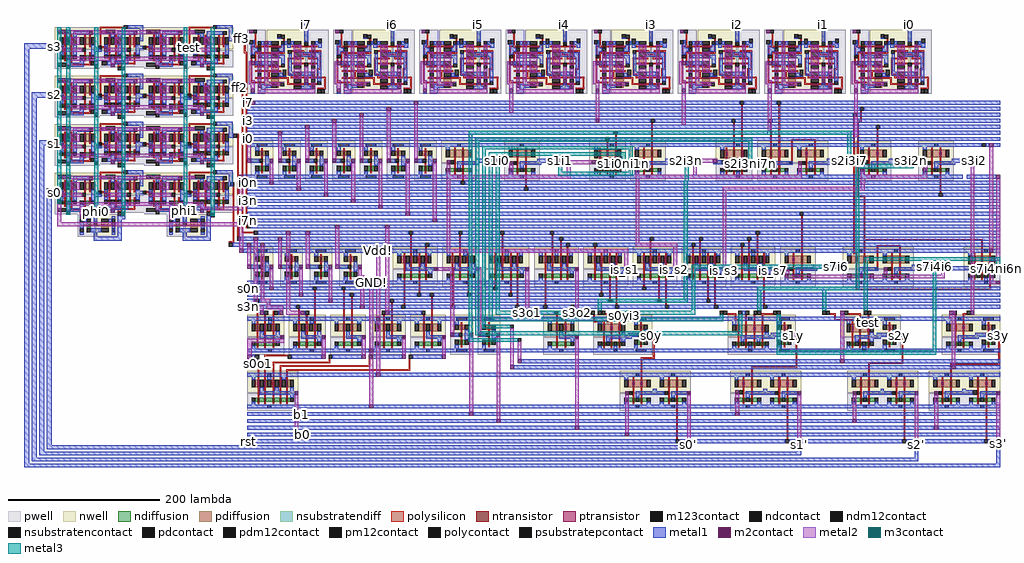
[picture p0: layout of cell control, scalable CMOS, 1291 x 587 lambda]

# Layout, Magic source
magic
tech scmos
<< polysilicon >>
rect -280 416 -274 418
rect -276 415 -274 416
rect -26 410 -24 429
rect -26 408 -22 410
rect -280 352 -274 354
rect -276 351 -274 352
rect -280 288 -274 290
rect -276 287 -274 288
rect -276 225 -274 226
rect -280 223 -274 225
rect -41 159 -39 232
rect -35 165 -33 301
rect -29 172 -27 365
rect -24 176 -22 408
rect 454 281 456 292
rect 465 281 467 300
rect 513 281 515 316
rect 621 281 623 316
rect 632 281 634 340
rect 670 281 672 316
rect 681 281 683 340
rect 698 292 730 294
rect 698 265 700 292
rect 728 281 730 292
rect 263 239 265 250
rect 346 231 348 250
rect -29 170 -13 172
rect -46 157 -39 159
rect 194 140 196 168
rect 214 140 216 152
rect 259 141 261 168
rect 315 141 317 168
rect 381 141 383 168
rect 392 141 394 160
rect 401 141 403 152
rect 437 141 439 152
rect 511 141 513 160
rect 567 141 569 152
rect 576 141 578 160
rect 632 141 634 152
rect 641 141 643 160
rect 652 141 654 168
rect 711 140 713 193
rect 780 145 782 324
rect 789 319 791 332
rect 785 317 791 319
rect 785 219 787 317
rect 811 280 813 308
rect 894 223 896 250
rect 785 217 796 219
rect 794 162 796 217
rect 794 160 951 162
rect 780 142 785 145
rect 783 141 785 142
rect 794 141 796 160
rect 811 152 843 154
rect 811 125 813 152
rect 841 141 843 152
rect 949 141 951 160
rect 939 119 941 127
rect -9 51 -7 78
rect 1 51 3 62
rect 12 51 14 67
rect 46 51 48 70
rect 56 51 58 62
rect 67 51 69 94
rect 105 50 107 94
rect 116 50 118 86
rect 158 50 160 62
rect 169 50 171 78
rect 185 75 187 110
rect 205 91 207 110
rect 211 50 213 62
rect 222 50 224 86
rect 249 75 251 110
rect 270 91 272 110
rect 306 99 308 110
rect 326 91 328 110
rect 335 75 337 110
rect 372 75 374 110
rect 446 91 448 110
rect 457 83 459 110
rect 466 75 468 110
rect 502 99 504 110
rect 522 83 524 109
rect 531 75 533 110
rect 587 83 589 110
rect 596 75 598 110
rect 661 75 663 110
rect 783 96 785 110
rect 960 96 962 110
rect 783 94 962 96
rect 452 62 456 64
rect 613 62 625 64
rect 387 50 389 62
rect 398 50 400 62
rect 436 54 438 62
rect 454 54 456 62
rect 470 60 479 62
rect 436 52 451 54
rect 454 52 461 54
rect 449 51 451 52
rect 459 51 461 52
rect 470 51 472 60
rect 623 56 625 62
rect 659 62 674 64
rect 749 62 757 64
rect 773 62 790 64
rect 623 54 629 56
rect 627 50 629 54
rect 637 50 639 62
rect 648 50 650 62
rect 659 50 661 62
rect 755 56 757 62
rect 755 54 780 56
rect 778 51 780 54
rect 788 51 790 62
rect 925 62 930 64
rect 799 51 801 62
rect 914 51 916 62
rect 925 51 927 62
rect -8 -24 -6 3
rect 1 7 32 9
rect 1 -24 3 7
rect 515 6 517 33
rect 499 4 517 6
rect 86 0 88 4
rect 12 -2 88 0
rect 12 -24 14 -2
rect 139 -5 141 4
rect 21 -7 141 -5
rect 21 -24 23 -7
rect 192 -10 194 4
rect 30 -12 194 -10
rect 30 -24 32 -12
rect 499 -23 501 4
rect 704 -6 706 33
rect 844 -1 846 33
rect 645 -8 706 -6
rect 800 -3 846 -1
rect 972 -3 974 33
rect 645 -23 647 -8
rect 800 -23 802 -3
rect 908 -5 974 -3
rect 908 -23 910 -5
rect 546 -103 548 -54
rect 692 -103 694 -54
rect 847 -103 849 -54
rect 955 -103 957 -54
<< polycontact >>
rect -31 424 -26 429
rect -287 414 -280 421
rect -34 360 -29 365
rect -287 349 -280 356
rect -40 296 -35 301
rect -287 286 -280 293
rect -44 232 -39 237
rect -287 222 -280 229
rect 630 340 635 345
rect 679 340 684 345
rect 512 316 517 321
rect 619 316 624 321
rect 463 300 468 305
rect 452 292 457 297
rect 668 316 673 321
rect 789 332 794 337
rect 780 324 785 329
rect 247 261 252 266
rect 330 260 335 265
rect 439 261 444 266
rect 497 260 502 265
rect 606 261 611 266
rect 695 260 700 265
rect 712 260 717 265
rect 261 234 266 239
rect 345 226 350 231
rect 709 193 714 198
rect -22 176 -17 181
rect -13 168 -8 173
rect 192 168 197 173
rect 258 168 263 173
rect 313 168 318 173
rect 379 168 384 173
rect 651 168 656 173
rect -35 160 -30 165
rect -46 152 -41 157
rect 214 152 219 157
rect 391 160 396 165
rect 511 160 516 165
rect 576 160 581 165
rect 640 160 645 165
rect 400 152 405 157
rect 436 152 441 157
rect 566 152 571 157
rect 631 152 636 157
rect 810 308 815 313
rect 795 261 800 266
rect 878 260 883 265
rect 893 218 898 223
rect 695 120 700 125
rect 808 120 813 125
rect 825 120 830 125
rect 934 121 939 126
rect 65 94 70 99
rect 103 94 108 99
rect -11 78 -6 83
rect 43 70 48 75
rect 1 62 6 67
rect 14 62 19 67
rect 55 62 60 67
rect 114 86 119 91
rect 167 78 172 83
rect 156 62 161 67
rect 203 86 208 91
rect 220 86 225 91
rect 182 70 187 75
rect 209 62 214 67
rect 304 94 309 99
rect 269 86 274 91
rect 324 86 329 91
rect 444 86 449 91
rect 456 78 461 83
rect 501 94 506 99
rect 521 78 526 83
rect 586 78 591 83
rect 248 70 253 75
rect 333 70 338 75
rect 370 70 375 75
rect 406 70 411 75
rect 465 70 470 75
rect 531 70 536 75
rect 596 70 601 75
rect 661 70 666 75
rect 385 62 390 67
rect 397 62 402 67
rect 433 62 438 67
rect 447 62 452 67
rect 474 62 479 67
rect 608 62 613 67
rect 637 62 642 67
rect 648 62 653 67
rect 674 62 679 67
rect 744 62 749 67
rect 768 62 773 67
rect 799 62 804 67
rect 912 62 917 67
rect 930 62 935 67
rect 515 33 520 38
rect 704 33 709 38
rect 844 33 849 38
rect 969 33 974 38
rect -12 3 -6 9
rect 32 4 37 9
rect 86 4 91 9
rect 139 4 144 9
rect 192 4 197 9
rect 483 -44 488 -39
rect 530 -44 535 -39
rect 629 -43 634 -38
rect 676 -44 681 -39
rect 784 -44 789 -39
rect 831 -44 836 -39
rect 892 -44 897 -39
rect 938 -44 944 -38
rect 545 -108 550 -103
rect 690 -108 695 -103
rect 845 -108 850 -103
rect 953 -108 958 -103
<< metal1 >>
rect 54 438 59 447
rect 168 437 173 447
rect 282 437 287 447
rect 396 437 401 447
rect 510 437 515 447
rect 624 437 629 447
rect 738 437 743 447
rect 852 437 857 447
rect -46 424 -31 429
rect -317 414 -287 421
rect -317 -135 -310 414
rect -46 360 -34 365
rect -307 349 -287 356
rect -307 -127 -300 349
rect -22 340 -17 345
rect -12 340 199 345
rect 204 340 630 345
rect 635 340 679 345
rect 684 340 974 345
rect -22 332 163 337
rect 168 332 789 337
rect 794 332 974 337
rect -22 324 127 329
rect 132 324 780 329
rect 785 324 974 329
rect -22 316 91 321
rect 96 316 512 321
rect 517 316 619 321
rect 624 316 668 321
rect 673 316 974 321
rect -22 308 55 313
rect 60 308 810 313
rect 815 308 974 313
rect -46 296 -40 301
rect -22 300 19 305
rect 24 300 463 305
rect 468 300 667 305
rect 672 300 974 305
rect -297 286 -287 293
rect -17 292 452 297
rect 457 292 781 297
rect 786 292 974 297
rect -297 -119 -290 286
rect -22 284 950 289
rect 955 284 960 289
rect 965 284 974 289
rect 280 265 307 268
rect 277 263 307 265
rect 362 265 390 268
rect 277 260 285 263
rect 360 263 390 265
rect 360 260 367 263
rect 531 265 557 268
rect 527 263 557 265
rect 600 263 606 266
rect 527 260 535 263
rect 595 261 606 263
rect 745 265 772 268
rect 743 263 772 265
rect 743 260 750 263
rect 827 263 855 268
rect 827 260 832 263
rect 910 263 938 268
rect 910 260 915 263
rect -27 242 925 247
rect 930 242 969 247
rect -47 232 -44 237
rect -22 234 8 239
rect 13 234 261 239
rect 266 234 974 239
rect -22 226 44 231
rect 49 226 345 231
rect 350 226 974 231
rect -287 -111 -280 222
rect -22 218 80 223
rect 85 218 893 223
rect 898 218 974 223
rect -22 210 116 215
rect 121 210 974 215
rect -22 202 152 207
rect 157 202 974 207
rect -188 188 -183 193
rect -22 193 188 198
rect 193 193 709 198
rect 714 193 974 198
rect -22 184 224 189
rect 229 184 974 189
rect -17 176 95 181
rect 100 176 161 181
rect 166 176 974 181
rect -8 168 30 173
rect 35 168 56 173
rect 61 168 192 173
rect 197 168 258 173
rect 263 168 313 173
rect 318 168 379 173
rect 384 168 651 173
rect 656 168 974 173
rect -30 160 -13 165
rect -8 160 19 165
rect 24 160 391 165
rect 396 160 511 165
rect 516 160 576 165
rect 581 160 640 165
rect 645 160 974 165
rect -41 152 -22 157
rect -17 152 -4 157
rect 1 152 214 157
rect 219 152 400 157
rect 405 152 436 157
rect 441 152 566 157
rect 571 152 631 157
rect 636 152 974 157
rect -27 144 149 149
rect 154 144 960 149
rect 965 144 974 149
rect -17 123 -9 128
rect 24 123 30 128
rect 61 123 69 128
rect 100 123 108 128
rect 727 123 755 128
rect 727 120 732 123
rect 857 123 885 128
rect 857 120 862 123
rect 901 121 934 126
rect -22 102 140 107
rect 145 102 969 107
rect -22 94 8 99
rect 13 94 65 99
rect 70 94 103 99
rect 108 94 304 99
rect 309 94 501 99
rect 506 94 974 99
rect -22 86 47 91
rect 52 86 114 91
rect 119 86 203 91
rect 208 86 220 91
rect 225 86 269 91
rect 274 86 324 91
rect 329 86 444 91
rect 449 86 974 91
rect -22 78 -11 83
rect -6 78 86 83
rect 91 78 167 83
rect 172 78 456 83
rect 461 78 521 83
rect 526 78 586 83
rect 591 78 974 83
rect -22 70 43 75
rect 48 70 128 75
rect 133 70 182 75
rect 187 70 248 75
rect 253 70 333 75
rect 338 70 370 75
rect 375 70 406 75
rect 411 70 465 75
rect 470 70 531 75
rect 536 70 596 75
rect 601 70 661 75
rect 666 70 974 75
rect 0 62 1 67
rect 19 62 21 67
rect 54 62 55 67
rect 166 62 209 67
rect 351 62 385 67
rect 402 62 412 67
rect 470 62 474 67
rect 633 62 637 67
rect -22 54 149 59
rect 154 54 974 59
rect 482 30 487 38
rect 671 30 676 38
rect 811 30 816 38
rect 843 33 844 38
rect 941 30 946 38
rect -22 12 140 17
rect 145 12 974 17
rect -16 3 -12 9
rect 37 4 77 9
rect 91 4 130 9
rect 144 4 183 9
rect 197 4 236 9
rect 341 -2 763 3
rect 768 -2 974 3
rect 331 -10 910 -5
rect 915 -10 974 -5
rect -22 -20 149 -15
rect 154 -20 974 -15
rect 515 -39 520 -36
rect 515 -44 530 -39
rect 661 -39 666 -36
rect 816 -39 820 -36
rect 924 -38 929 -36
rect 661 -44 676 -39
rect 816 -44 831 -39
rect 924 -44 938 -38
rect -22 -62 140 -57
rect 145 -62 974 -57
rect -22 -72 272 -67
rect 277 -72 624 -67
rect 629 -72 974 -67
rect -22 -81 308 -76
rect 313 -81 779 -76
rect 784 -81 974 -76
rect -22 -90 412 -85
rect 417 -90 887 -85
rect 892 -90 974 -85
rect -22 -99 41 -94
rect 46 -99 478 -94
rect 483 -99 974 -94
rect -22 -108 545 -103
rect 550 -108 690 -103
rect 695 -108 845 -103
rect 850 -108 953 -103
rect 958 -108 974 -103
rect -287 -116 560 -111
rect 706 -119 711 -116
rect -297 -124 711 -119
rect 861 -127 866 -116
rect -307 -132 866 -127
rect 969 -135 974 -116
rect -317 -140 974 -135
<< m2contact >>
rect -214 433 -209 438
rect -96 433 -91 438
rect -202 389 -197 394
rect -84 389 -79 394
rect -214 369 -209 374
rect -96 369 -91 374
rect -17 340 -12 345
rect 199 340 204 345
rect 163 332 168 337
rect -202 325 -197 330
rect -84 325 -79 330
rect 127 324 132 329
rect 91 316 96 321
rect 439 316 444 321
rect -214 305 -209 310
rect -96 305 -91 310
rect 55 308 60 313
rect 19 300 24 305
rect -22 292 -17 297
rect 960 284 965 289
rect -202 261 -197 266
rect -84 261 -79 266
rect -22 263 -17 268
rect 8 263 13 268
rect 19 263 24 268
rect 44 263 49 268
rect 55 263 60 268
rect 80 263 85 268
rect 91 263 96 268
rect 116 263 121 268
rect 127 263 132 268
rect 152 263 157 268
rect 163 263 168 268
rect 188 263 193 268
rect 199 263 204 268
rect 224 263 229 268
rect 242 261 247 266
rect 325 260 330 265
rect 434 261 439 266
rect 492 260 497 265
rect 568 263 573 268
rect 595 263 600 268
rect 707 260 712 265
rect 790 261 795 266
rect 873 260 878 265
rect 938 263 943 268
rect -214 241 -209 246
rect -96 241 -91 246
rect -32 242 -27 247
rect 969 242 974 247
rect 8 234 13 239
rect 44 226 49 231
rect 80 218 85 223
rect 116 210 121 215
rect 152 202 157 207
rect -202 197 -197 202
rect -84 197 -79 202
rect 188 193 193 198
rect 224 184 229 189
rect 95 176 100 181
rect 161 176 166 181
rect 30 168 35 173
rect 56 168 61 173
rect -13 160 -8 165
rect 19 160 24 165
rect -22 152 -17 157
rect -4 152 1 157
rect -32 144 -27 149
rect 149 144 154 149
rect 960 144 965 149
rect -22 123 -17 128
rect 8 123 13 128
rect 19 123 24 128
rect 47 123 52 128
rect 56 123 61 128
rect 86 123 91 128
rect 95 123 100 128
rect 125 123 130 128
rect 225 120 230 125
rect 280 120 285 125
rect 346 120 351 125
rect 412 120 417 125
rect 477 120 482 125
rect 542 120 547 125
rect 607 120 612 125
rect 672 120 677 125
rect 690 120 695 125
rect 820 120 825 125
rect 896 121 901 126
rect 140 102 145 107
rect 969 102 974 107
rect 8 94 13 99
rect 47 86 52 91
rect 86 78 91 83
rect 128 70 133 75
rect -5 62 0 67
rect 21 62 26 67
rect 49 62 54 67
rect 161 62 166 67
rect 346 62 351 67
rect 412 62 417 67
rect 763 62 768 67
rect 907 62 912 67
rect 935 62 940 67
rect 149 54 154 59
rect 22 30 27 35
rect 77 30 82 35
rect 130 30 135 35
rect 183 30 188 35
rect 236 30 241 35
rect 247 33 252 38
rect 272 33 277 38
rect 283 33 288 38
rect 308 33 313 38
rect 412 30 417 35
rect 510 33 515 38
rect 699 33 704 38
rect 838 33 843 38
rect 140 12 145 17
rect -22 3 -16 9
rect 77 4 82 9
rect 130 4 135 9
rect 183 4 188 9
rect 236 4 241 9
rect 336 -2 341 3
rect 763 -2 768 3
rect 326 -10 331 -5
rect 910 -10 915 -5
rect 149 -20 154 -15
rect 41 -44 46 -39
rect 478 -44 483 -39
rect 560 -44 565 -39
rect 624 -43 629 -38
rect 706 -44 711 -39
rect 779 -44 784 -39
rect 861 -44 866 -39
rect 887 -44 892 -39
rect 969 -44 974 -39
rect 140 -62 145 -57
rect 272 -72 277 -67
rect 624 -72 629 -67
rect 308 -81 313 -76
rect 779 -81 784 -76
rect 412 -90 417 -85
rect 887 -90 892 -85
rect 41 -99 46 -94
rect 478 -99 483 -94
rect 560 -116 565 -111
rect 706 -116 711 -111
rect 861 -116 866 -111
rect 969 -116 974 -111
<< metal2 >>
rect -22 268 -17 292
rect 19 268 24 300
rect 55 268 60 308
rect 91 268 96 316
rect 127 268 132 324
rect 163 268 168 332
rect 199 268 204 340
rect 325 329 330 356
rect 439 321 444 356
rect 553 313 558 356
rect 667 305 672 357
rect 781 297 786 356
rect -32 205 -27 242
rect 8 239 13 263
rect 44 231 49 263
rect 80 223 85 263
rect 116 215 121 263
rect -84 202 -27 205
rect 152 207 157 263
rect -79 200 -27 202
rect 188 198 193 263
rect 224 189 229 263
rect 242 247 247 261
rect 325 247 330 260
rect 401 261 434 266
rect 401 247 406 261
rect 573 263 595 268
rect 242 242 406 247
rect 492 247 497 260
rect 568 247 573 263
rect 707 247 712 260
rect 492 242 712 247
rect 790 247 795 261
rect 873 247 878 260
rect 790 242 878 247
rect 935 263 938 268
rect 935 258 943 263
rect 790 242 878 247
rect -78 179 -27 184
rect -32 149 -27 179
rect -22 128 -17 152
rect -13 74 -8 160
rect -4 83 1 152
rect 19 128 24 160
rect 8 99 13 123
rect -4 78 9 83
rect 4 74 9 78
rect -13 69 0 74
rect 4 69 26 74
rect -5 67 0 69
rect 21 67 26 69
rect 30 67 35 168
rect 56 128 61 168
rect 95 128 100 176
rect 47 91 52 123
rect 86 83 91 123
rect 125 114 130 123
rect 125 110 133 114
rect 128 75 133 110
rect 30 62 49 67
rect -22 25 27 30
rect -22 9 -16 25
rect 77 9 82 30
rect 130 9 135 30
rect 140 17 145 102
rect 41 -94 46 -44
rect 140 -57 145 12
rect 149 59 154 144
rect 161 67 166 176
rect 242 149 247 242
rect 492 157 497 242
rect 790 236 796 242
rect 790 231 795 236
rect 607 226 795 231
rect 492 152 547 157
rect 242 144 482 149
rect 477 125 482 144
rect 230 120 252 125
rect 285 120 288 125
rect 149 -15 154 54
rect 247 38 252 120
rect 283 38 288 120
rect 346 67 351 120
rect 542 125 547 152
rect 607 125 612 226
rect 677 120 690 125
rect 412 67 417 120
rect 690 115 695 120
rect 820 115 825 120
rect 896 115 901 121
rect 690 110 901 115
rect 935 67 940 258
rect 960 149 965 284
rect 969 138 974 242
rect 960 133 974 138
rect 960 107 965 133
rect 960 102 969 107
rect 912 62 915 67
rect 183 9 188 30
rect 236 9 241 30
rect 272 -67 277 33
rect 308 -76 313 33
rect 326 -5 331 44
rect 336 3 341 26
rect 412 -85 417 30
rect 763 3 768 62
rect 907 57 915 62
rect 910 -5 915 57
rect 478 -94 483 -44
rect 560 -111 565 -44
rect 624 -67 629 -43
rect 706 -111 711 -44
rect 779 -76 784 -44
rect 861 -111 866 -44
rect 887 -85 892 -44
rect 969 -111 974 -44
<< m123contact >>
rect -188 385 -183 390
rect -70 385 -65 390
rect -188 321 -183 326
rect -70 321 -65 326
rect 950 284 955 289
rect -188 257 -183 262
rect -70 257 -65 262
rect -224 196 -219 201
rect -188 193 -183 198
rect -70 191 -65 196
rect 307 263 312 268
rect 390 263 395 268
rect 474 260 479 265
rect 557 263 562 268
rect 641 260 646 265
rect 772 263 777 268
rect 855 263 860 268
rect 755 123 760 128
rect 885 123 890 128
rect 969 120 974 125
rect 428 62 433 67
rect 442 62 447 67
rect 465 62 470 67
rect 603 62 608 67
rect 628 62 633 67
rect 653 62 658 67
rect 679 62 684 67
rect 739 62 744 67
rect 794 62 799 67
rect 326 44 331 49
rect 336 26 341 31
<< metal3 >>
rect 271 300 777 305
rect -106 197 -101 202
rect 271 31 276 300
rect 280 291 646 296
rect 280 40 285 291
rect 289 281 488 285
rect 289 49 294 281
rect 298 272 479 277
rect 298 58 303 272
rect 307 67 312 263
rect 390 251 395 263
rect 474 265 479 272
rect 483 251 488 281
rect 390 246 488 251
rect 557 239 562 263
rect 641 265 646 291
rect 772 268 777 300
rect 855 261 860 263
rect 783 256 860 261
rect 556 83 561 239
rect 442 78 561 83
rect 566 123 755 128
rect 442 67 447 78
rect 566 67 571 123
rect 783 99 788 256
rect 653 94 788 99
rect 794 133 974 138
rect 653 67 658 94
rect 739 67 744 94
rect 307 62 428 67
rect 470 62 571 67
rect 603 58 608 62
rect 298 53 608 58
rect 794 67 799 133
rect 289 44 326 49
rect 628 40 633 62
rect 280 35 633 40
rect 271 26 336 31
rect 679 15 684 62
rect 885 15 890 123
rect 969 125 974 133
rect 679 9 890 15
use flipflops  flipflops_0
transform 1 0 -280 0 1 511
box 4 -351 240 -66
use 5nand  5nand_0
transform 1 0 -94 0 1 -95
box 72 30 140 83
use 3nand  3nand_2
transform 1 0 -39 0 1 -21
box 72 30 121 83
use 3nand  3nand_1
transform 1 0 -94 0 1 -21
box 72 30 121 83
use 2nand  2nand_1
transform 1 0 73 0 1 -20
box 68 29 115 82
use 2nand  2nand_0
transform 1 0 20 0 1 -20
box 68 29 115 82
use 2nand  2nand_2
transform 1 0 126 0 1 -20
box 68 29 115 82
use inv  inv_2
transform 1 0 71 0 1 112
box -10 -13 20 40
use inv  inv_1
transform 1 0 32 0 1 112
box -10 -13 20 40
use inv  inv_0
transform 1 0 -7 0 1 112
box -10 -13 20 40
use 4nand  4nand_1
transform 1 0 99 0 1 69
box 72 30 131 83
use inv  inv_3
transform 1 0 110 0 1 112
box -10 -13 20 40
use inv  inv_8
transform 1 0 65 0 1 252
box -10 -13 20 40
use inv  inv_7
transform 1 0 29 0 1 252
box -10 -13 20 40
use inv  inv_6
transform 1 0 -7 0 1 252
box -10 -13 20 40
use inv  inv_11
transform 1 0 173 0 1 252
box -10 -13 20 40
use inv  inv_10
transform 1 0 137 0 1 252
box -10 -13 20 40
use inv  inv_9
transform 1 0 101 0 1 252
box -10 -13 20 40
use reg_one  reg_one_3
transform 0 1 5 -1 0 428
box -11 -27 74 81
use reg_one  reg_one_0
transform 0 1 119 -1 0 428
box -11 -27 74 81
use inv  inv_5
transform 1 0 293 0 1 22
box -10 -13 20 40
use inv  inv_4
transform 1 0 257 0 1 22
box -10 -13 20 40
use 2nand  2nand_3
transform 1 0 302 0 1 -20
box 68 29 115 82
use 4nand  4nand_2
transform 1 0 220 0 1 69
box 72 30 131 83
use 3nand  3nand_0
transform 1 0 164 0 1 69
box 72 30 121 83
use 4nand  4nand_3
transform 1 0 286 0 1 69
box 72 30 131 83
use 4nand  4nand_0
transform 1 0 351 0 1 69
box 72 30 131 83
use 2nor  2nor_4
transform 1 0 167 0 1 211
box 68 28 115 81
use inv  inv_12
transform 1 0 209 0 1 252
box -10 -13 20 40
use 2nor  2nor_5
transform 1 0 250 0 1 211
box 68 28 115 81
use 3nor  3nor_0
transform 1 0 359 0 1 211
box 72 28 120 81
use reg_one  reg_one_1
transform 0 1 233 -1 0 428
box -11 -27 74 81
use reg_one  reg_one_2
transform 0 1 347 -1 0 428
box -11 -27 74 81
use reg_one  reg_one_4
transform 0 1 461 -1 0 428
box -11 -27 74 81
use 2nor  2nor_0
transform 1 0 403 0 1 -93
box 68 28 115 81
use inv  inv_25
transform 1 0 494 0 1 22
box -10 -13 20 40
use 2nor  2nor_18
transform 1 0 450 0 1 -93
box 68 28 115 81
use 3nor  3nor_4
transform 1 0 364 0 1 -19
box 72 28 120 81
use 2nor  2nor_1
transform 1 0 549 0 1 -93
box 68 28 115 81
use 4nor  4nor_0
transform 1 0 542 0 1 15
box 72 -6 132 47
use 2nor  2nor_15
transform 1 0 596 0 1 -93
box 68 28 115 81
use 4nand  4nand_4
transform 1 0 416 0 1 69
box 72 30 131 83
use 4nand  4nand_6
transform 1 0 546 0 1 69
box 72 30 131 83
use 4nand  4nand_5
transform 1 0 481 0 1 69
box 72 30 131 83
use 2nor  2nor_6
transform 1 0 417 0 1 211
box 68 28 115 81
use 3nor  3nor_2
transform 1 0 526 0 1 211
box 72 28 120 81
use 2nor  2nor_7
transform 1 0 585 0 1 211
box 68 28 115 81
use reg_one  reg_one_5
transform 0 1 575 -1 0 428
box -11 -27 74 81
use reg_one  reg_one_6
transform 0 1 689 -1 0 428
box -11 -27 74 81
use 2nor  2nor_2
transform 1 0 704 0 1 -93
box 68 28 115 81
use 3nor  3nor_3
transform 1 0 693 0 1 -19
box 72 28 120 81
use inv  inv_26
transform 1 0 684 0 1 22
box -10 -13 20 40
use 2nor  2nor_3
transform 1 0 812 0 1 -93
box 68 28 115 81
use inv  inv_27
transform 1 0 823 0 1 22
box -10 -13 20 40
use 2nor  2nor_16
transform 1 0 751 0 1 -93
box 68 28 115 81
use 2nor  2nor_14
transform 1 0 829 0 1 -19
box 68 28 115 81
use 2nor  2nor_12
transform 1 0 698 0 1 71
box 68 28 115 81
use 2nor  2nor_11
transform 1 0 615 0 1 71
box 68 28 115 81
use 2nor  2nor_13
transform 1 0 745 0 1 71
box 68 28 115 81
use 2nor  2nor_8
transform 1 0 632 0 1 211
box 68 28 115 81
use 2nor  2nor_10
transform 1 0 798 0 1 211
box 68 28 115 81
use 2nor  2nor_9
transform 1 0 715 0 1 211
box 68 28 115 81
use reg_one  reg_one_7
transform 0 1 803 -1 0 428
box -11 -27 74 81
use 2nor  2nor_17
transform 1 0 859 0 1 -93
box 68 28 115 81
use inv  inv_28
transform 1 0 954 0 1 22
box -10 -13 20 40
use 3nor  3nor_1
transform 1 0 854 0 1 71
box 72 28 120 81
<< labels >>
rlabel m2contact 412 62 417 67 7 s3o2
rlabel m2contact 346 62 351 67 1 s3o1
rlabel metal1 -22 94 -17 99 3 s0n
rlabel metal1 -22 86 -17 91 3 s1n
rlabel metal1 -22 78 -17 83 3 s2n
rlabel metal1 -22 70 -17 75 3 s3n
rlabel metal1 -22 234 -17 239 3 i0n
rlabel metal1 -22 226 -17 231 3 i1n
rlabel metal1 -22 218 -17 223 3 i2n
rlabel metal1 -22 210 -17 215 3 i3n
rlabel metal1 -22 316 -17 321 4 i3
rlabel metal1 -22 308 -17 313 3 i2
rlabel metal1 -22 300 -17 305 3 i1
rlabel m2contact -22 292 -17 297 3 i0
rlabel metal1 -22 324 -17 329 3 i4
rlabel metal1 -22 332 -17 337 3 i6
rlabel metal1 -22 340 -17 345 4 i7
rlabel metal1 -22 202 -17 207 3 i4n
rlabel metal1 -22 193 -17 198 3 i6n
rlabel metal1 -22 184 -17 189 3 i7n
rlabel m123contact 307 263 312 268 1 s1i0
rlabel m123contact 557 263 562 268 1 s2i3n
rlabel m123contact 772 263 777 268 1 s2i3i7
rlabel m123contact 855 263 860 268 1 s3i2n
rlabel m123contact 755 123 760 128 1 s7i6
rlabel m123contact 885 123 890 128 1 s7i4i6
rlabel m2contact 938 263 943 268 1 s3i2
rlabel m2contact 510 33 515 35 1 s0y
rlabel m2contact 699 33 704 35 1 s1y
rlabel polycontact 969 33 974 35 7 s3y
rlabel metal1 51 -97 51 -97 1 b0
rlabel metal1 50 -70 50 -70 1 b1
rlabel metal1 50 -78 50 -78 1 b2
rlabel metal1 50 -86 50 -86 1 b3
rlabel polysilicon -7 -3 -7 -3 1 s0o1
rlabel polysilicon 1 -5 1 -5 1 s0o2
rlabel polysilicon 13 -6 13 -6 1 s0o3
rlabel polysilicon 21 -9 21 -9 1 s0o4
rlabel polysilicon 31 -12 31 -12 1 s0o5
rlabel polysilicon 437 61 437 61 1 s0yi1
rlabel polysilicon 455 61 455 61 1 s0yi2
rlabel polysilicon 477 61 477 61 1 s0yi3
rlabel m2contact 479 122 479 122 1 is_s1
rlabel m2contact 544 122 544 122 1 is_s2
rlabel m2contact 609 121 609 121 1 is_s3
rlabel m2contact 674 121 674 121 1 is_s7
rlabel m123contact 641 260 646 265 1 s2i3ni7n
rlabel m123contact 969 120 974 125 7 s7i4ni6n
rlabel m123contact 390 263 395 268 1 s1i1
rlabel m123contact 474 260 479 265 1 s1i0ni1n
rlabel m2contact 838 33 843 35 1 s2y
rlabel polysilicon 800 52 800 52 1 test
rlabel metal1 -22 -108 -17 -103 2 rst
rlabel metal2 706 -111 711 -108 1 s1'
rlabel metal2 861 -111 866 -108 1 s2'
rlabel metal2 969 -110 974 -108 8 s3'
rlabel metal2 560 -111 565 -108 1 s0'
rlabel m2contact 140 102 145 107 1 GND!
rlabel metal3 -22 355 -17 360 3 iwe
rlabel metal1 54 444 59 447 5 i7
rlabel metal1 168 444 173 447 5 i6
rlabel metal1 282 444 287 447 5 i5
rlabel metal1 396 444 401 447 5 i4
rlabel metal1 510 444 515 447 5 i3
rlabel metal1 624 444 629 447 5 i2
rlabel metal1 738 444 743 447 5 i1
rlabel metal1 852 444 857 447 5 i0
rlabel polysilicon -278 288 -274 290 3 s1
rlabel polysilicon -278 352 -274 354 3 s2
rlabel polysilicon -278 416 -274 418 3 s3
rlabel metal3 -106 197 -101 202 1 phi1
rlabel polycontact -43 234 -43 234 1 ff0
rlabel polycontact -37 298 -37 298 1 ff1
rlabel polycontact -32 362 -32 362 1 ff2
rlabel polycontact -29 427 -29 427 1 ff3
rlabel m2contact 149 144 154 149 1 Vdd!
rlabel polysilicon -278 223 -274 225 3 s0
rlabel m123contact -224 196 -219 201 1 phi0
rlabel space -98 416 -98 416 1 test
<< end >>

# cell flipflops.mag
magic
tech scmos
<< polysilicon >>
rect 4 -95 6 -93
rect 4 -159 6 -157
rect 4 -223 6 -221
rect 4 -287 6 -285
<< polycontact >>
rect 61 -98 66 -93
rect 120 -98 125 -93
rect 179 -98 184 -93
rect 61 -162 66 -157
rect 120 -162 125 -157
rect 179 -162 184 -157
rect 61 -226 66 -221
rect 120 -226 125 -221
rect 179 -226 184 -221
rect 61 -290 66 -285
rect 120 -290 125 -285
rect 179 -290 184 -285
<< metal1 >>
rect 234 -87 239 -82
rect 116 -98 120 -93
rect 61 -101 66 -98
rect 179 -101 184 -98
rect 234 -151 239 -146
rect 116 -162 120 -157
rect 61 -165 66 -162
rect 179 -165 184 -162
rect 234 -215 239 -210
rect 116 -226 120 -221
rect 61 -229 66 -226
rect 179 -229 184 -226
rect 234 -279 239 -274
rect 116 -290 120 -285
rect 61 -293 66 -290
rect 179 -293 184 -290
rect 56 -319 61 -314
rect 174 -316 179 -314
rect 79 -340 84 -332
rect 87 -346 92 -318
rect 175 -319 179 -316
rect 205 -346 210 -318
rect 55 -351 92 -346
rect 173 -351 210 -346
<< m2contact >>
rect 37 -322 42 -317
rect 79 -332 84 -327
rect 155 -321 160 -316
rect 197 -332 202 -327
<< metal2 >>
rect 7 -78 189 -73
rect 19 -113 201 -108
rect 19 -119 24 -113
rect 78 -117 83 -113
rect 137 -119 142 -113
rect 196 -117 201 -113
rect 7 -142 189 -137
rect 19 -177 201 -172
rect 19 -183 24 -177
rect 78 -181 83 -177
rect 137 -183 142 -177
rect 196 -181 201 -177
rect 7 -206 189 -201
rect 19 -241 201 -236
rect 19 -247 24 -241
rect 78 -245 83 -241
rect 137 -247 142 -241
rect 196 -245 201 -241
rect 7 -270 189 -265
rect 7 -327 12 -302
rect 19 -305 201 -300
rect 19 -312 24 -305
rect 37 -317 42 -305
rect 78 -309 83 -305
rect 137 -311 142 -305
rect 155 -316 160 -305
rect 196 -309 201 -305
rect 155 -323 160 -321
rect 7 -332 79 -327
rect 84 -332 197 -327
<< m3contact >>
rect 7 -302 12 -297
<< metal3 >>
rect 7 -297 12 -69
rect 19 -317 24 -69
rect 56 -314 61 -69
rect 92 -318 97 -69
rect 174 -314 179 -69
rect 210 -318 215 -69
use latch_one  latch_one_11
transform 1 0 15 0 1 -249
box -11 -67 48 -12
use staticizer_one  staticizer_one_11
transform 1 0 9 0 1 -257
box 54 -61 113 -1
use latch_one  latch_one_10
transform 1 0 133 0 1 -249
box -11 -67 48 -12
use staticizer_one  staticizer_one_10
transform 1 0 127 0 1 -257
box 54 -61 113 -1
use latch_one  latch_one_9
transform 1 0 15 0 1 -185
box -11 -67 48 -12
use staticizer_one  staticizer_one_9
transform 1 0 9 0 1 -193
box 54 -61 113 -1
use latch_one  latch_one_8
transform 1 0 133 0 1 -185
box -11 -67 48 -12
use staticizer_one  staticizer_one_8
transform 1 0 127 0 1 -193
box 54 -61 113 -1
use latch_one  latch_one_7
transform 1 0 15 0 1 -121
box -11 -67 48 -12
use staticizer_one  staticizer_one_7
transform 1 0 9 0 1 -129
box 54 -61 113 -1
use latch_one  latch_one_6
transform 1 0 133 0 1 -121
box -11 -67 48 -12
use staticizer_one  staticizer_one_6
transform 1 0 127 0 1 -129
box 54 -61 113 -1
use latch_one  latch_one_5
transform 1 0 15 0 1 -57
box -11 -67 48 -12
use staticizer_one  staticizer_one_5
transform 1 0 9 0 1 -65
box 54 -61 113 -1
use latch_one  latch_one_4
transform 1 0 133 0 1 -57
box -11 -67 48 -12
use staticizer_one  staticizer_one_4
transform 1 0 127 0 1 -65
box 54 -61 113 -1
use inv2  inv2_1
transform 0 1 165 -1 0 -326
box -10 -13 20 40
use inv2  inv2_0
transform 0 1 47 -1 0 -326
box -10 -13 20 40
<< labels >>
rlabel polysilicon 4 -95 6 -93 3 s2'
rlabel polysilicon 4 -159 6 -157 3 s3'
rlabel polysilicon 4 -223 6 -221 3 s4'
rlabel polysilicon 4 -287 6 -285 3 s5'
rlabel metal3 56 -314 61 -309 1 phi0
rlabel metal3 174 -314 179 -309 1 phi1
rlabel metal1 234 -87 239 -82 7 s2
rlabel metal1 234 -151 239 -146 7 s3
rlabel metal1 234 -215 239 -210 7 s4
rlabel metal1 234 -279 239 -274 7 s5
rlabel metal3 19 -317 24 -312 1 GND!
rlabel metal2 7 -332 12 -327 3 Vdd!
<< end >>

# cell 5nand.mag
magic
tech scmos
<< nwell >>
rect 72 54 140 83
<< pwell >>
rect 72 30 140 53
<< ntransistor >>
rect 86 42 88 47
rect 95 42 97 47
rect 106 42 108 47
rect 115 42 117 47
rect 124 42 126 47
<< ptransistor >>
rect 86 61 88 71
rect 95 61 97 71
rect 106 61 108 71
rect 115 61 117 71
rect 124 61 126 71
<< ndiffusion >>
rect 83 42 86 47
rect 88 42 95 47
rect 97 42 106 47
rect 108 42 115 47
rect 117 42 124 47
rect 126 42 129 47
<< pdiffusion >>
rect 83 61 86 71
rect 88 61 89 71
rect 94 61 95 71
rect 97 61 99 71
rect 104 61 106 71
rect 108 61 109 71
rect 114 61 115 71
rect 117 61 118 71
rect 123 61 124 71
rect 126 61 129 71
<< ndcontact >>
rect 78 42 83 47
rect 129 42 134 47
<< pdcontact >>
rect 78 61 83 71
rect 89 61 94 71
rect 99 61 104 71
rect 109 61 114 71
rect 118 61 123 71
rect 129 61 134 71
<< psubstratepcontact >>
rect 99 33 104 38
<< nsubstratencontact >>
rect 99 75 104 80
<< polysilicon >>
rect 86 71 88 74
rect 95 71 97 74
rect 106 71 108 74
rect 115 71 117 74
rect 124 71 126 74
rect 86 47 88 61
rect 95 47 97 61
rect 106 47 108 61
rect 115 47 117 61
rect 124 47 126 61
rect 86 39 88 42
rect 95 39 97 42
rect 106 39 108 42
rect 115 39 117 42
rect 124 39 126 42
<< metal1 >>
rect 78 75 99 80
rect 104 75 140 80
rect 78 71 83 75
rect 99 71 104 75
rect 118 71 123 75
rect 89 56 94 61
rect 109 56 114 61
rect 129 56 134 61
rect 89 51 140 56
rect 129 47 134 51
rect 78 38 83 42
rect 78 33 99 38
rect 104 33 140 38
<< labels >>
rlabel polysilicon 95 72 97 74 1 b
rlabel polysilicon 106 72 108 74 1 c
rlabel polysilicon 86 72 88 74 1 a
rlabel polysilicon 115 72 117 74 1 d
rlabel polysilicon 124 72 126 74 1 e
rlabel metal1 135 75 140 80 7 Vdd!
rlabel metal1 135 51 140 56 7 out
rlabel metal1 135 33 140 38 7 GND!
<< end >>

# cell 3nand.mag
magic
tech scmos
<< nwell >>
rect 72 54 121 83
<< pwell >>
rect 72 30 121 53
<< ntransistor >>
rect 85 42 87 47
rect 95 42 97 47
rect 106 42 108 47
<< ptransistor >>
rect 85 61 87 71
rect 95 61 97 71
rect 106 61 108 71
<< ndiffusion >>
rect 83 42 85 47
rect 87 42 95 47
rect 97 42 106 47
rect 108 42 110 47
<< pdiffusion >>
rect 83 61 85 71
rect 87 61 89 71
rect 94 61 95 71
rect 97 61 99 71
rect 104 61 106 71
rect 108 61 110 71
<< ndcontact >>
rect 78 42 83 47
rect 110 42 115 47
<< pdcontact >>
rect 78 61 83 71
rect 89 61 94 71
rect 99 61 104 71
rect 110 61 115 71
<< psubstratepcontact >>
rect 100 33 105 38
<< nsubstratencontact >>
rect 100 75 105 80
<< polysilicon >>
rect 85 71 87 74
rect 95 71 97 74
rect 106 71 108 74
rect 85 47 87 61
rect 95 47 97 61
rect 106 47 108 61
rect 85 39 87 42
rect 95 39 97 42
rect 106 39 108 42
<< metal1 >>
rect 78 75 99 80
rect 104 75 121 80
rect 78 71 83 75
rect 100 71 105 75
rect 89 56 94 61
rect 110 56 115 61
rect 89 51 121 56
rect 110 47 115 51
rect 78 38 83 42
rect 78 33 99 38
rect 104 33 121 38
<< labels >>
rlabel polysilicon 85 72 87 74 1 a
rlabel polysilicon 95 72 97 74 1 b
rlabel metal1 116 33 121 38 7 GND!
rlabel metal1 116 75 121 80 7 Vdd!
rlabel polysilicon 106 72 108 74 1 c
rlabel metal1 116 51 121 56 7 out
<< end >>

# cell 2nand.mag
magic
tech scmos
<< nwell >>
rect 68 53 115 82
<< pwell >>
rect 68 29 115 52
<< ntransistor >>
rect 85 41 87 46
rect 96 41 98 46
<< ptransistor >>
rect 85 60 87 70
rect 96 60 98 70
<< ndiffusion >>
rect 79 41 85 46
rect 87 41 96 46
rect 98 41 104 46
<< pdiffusion >>
rect 79 60 85 70
rect 87 60 89 70
rect 94 60 96 70
rect 98 60 104 70
<< ndcontact >>
rect 74 41 79 46
rect 104 41 109 46
<< pdcontact >>
rect 74 60 79 70
rect 89 60 94 70
rect 104 60 109 70
<< psubstratepcontact >>
rect 89 32 94 37
<< nsubstratencontact >>
rect 89 74 94 79
<< polysilicon >>
rect 85 70 87 73
rect 96 70 98 73
rect 85 46 87 60
rect 96 46 98 60
rect 85 38 87 41
rect 96 38 98 41
<< metal1 >>
rect 74 74 89 79
rect 94 74 115 79
rect 74 70 79 74
rect 104 70 109 74
rect 89 55 94 60
rect 89 50 115 55
rect 104 46 109 50
rect 74 37 79 41
rect 74 32 89 37
rect 94 32 115 37
<< labels >>
rlabel metal1 110 74 115 79 7 Vdd!
rlabel polysilicon 85 71 87 73 1 a
rlabel polysilicon 96 71 98 73 1 b
rlabel metal1 110 50 115 55 7 out
rlabel metal1 110 32 115 37 7 GND!
<< end >>

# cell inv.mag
magic
tech scmos
<< nwell >>
rect -10 14 20 40
<< pwell >>
rect -10 -13 20 13
<< ntransistor >>
rect 4 0 6 7
<< ptransistor >>
rect 4 20 6 27
<< ndiffusion >>
rect 1 0 4 7
rect 6 0 9 7
<< pdiffusion >>
rect 1 20 4 27
rect 6 20 9 27
<< ndcontact >>
rect -4 0 1 7
rect 9 0 14 7
<< pdcontact >>
rect -4 20 1 27
rect 9 20 14 27
<< psubstratepcontact >>
rect -2 -10 12 -5
<< nsubstratencontact >>
rect -2 32 12 37
<< polysilicon >>
rect 4 27 6 30
rect 4 16 6 20
rect 4 7 6 11
rect 4 -3 6 0
<< polycontact >>
rect 1 11 6 16
<< metal1 >>
rect -7 32 -2 37
rect 12 32 17 37
rect -4 27 1 32
rect 9 16 14 20
rect -10 11 1 16
rect 9 11 20 16
rect 9 7 14 11
rect -4 -5 1 0
rect -7 -10 -2 -5
rect 12 -10 17 -5
<< labels >>
rlabel metal1 -10 11 -10 16 3 in
rlabel metal1 20 11 20 16 7 out
rlabel metal1 -5 34 -5 34 3 Vdd!
rlabel metal1 -5 -7 -5 -7 3 GND!
<< end >>

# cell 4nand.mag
magic
tech scmos
<< nwell >>
rect 72 54 131 83
<< pwell >>
rect 72 32 131 53
rect 72 30 130 32
<< ntransistor >>
rect 86 42 88 47
rect 95 42 97 47
rect 106 42 108 47
rect 115 42 117 47
<< ptransistor >>
rect 86 61 88 71
rect 95 61 97 71
rect 106 61 108 71
rect 115 61 117 71
<< ndiffusion >>
rect 83 42 86 47
rect 88 42 95 47
rect 97 42 106 47
rect 108 42 115 47
rect 117 42 119 47
<< pdiffusion >>
rect 83 61 86 71
rect 88 61 89 71
rect 94 61 95 71
rect 97 61 99 71
rect 104 61 106 71
rect 108 61 109 71
rect 114 61 115 71
rect 117 61 118 71
<< ndcontact >>
rect 78 42 83 47
rect 119 42 124 47
<< pdcontact >>
rect 78 61 83 71
rect 89 61 94 71
rect 99 61 104 71
rect 109 61 114 71
rect 118 61 123 71
<< psubstratepcontact >>
rect 99 33 104 38
<< nsubstratencontact >>
rect 99 75 104 80
<< polysilicon >>
rect 86 71 88 74
rect 95 71 97 74
rect 106 71 108 74
rect 115 71 117 74
rect 86 47 88 61
rect 95 47 97 61
rect 106 47 108 61
rect 115 47 117 61
rect 86 39 88 42
rect 95 39 97 42
rect 106 39 108 42
rect 115 39 117 42
<< metal1 >>
rect 78 75 99 80
rect 104 75 131 80
rect 78 71 83 75
rect 99 71 104 75
rect 118 71 123 75
rect 89 56 94 61
rect 109 56 114 61
rect 89 51 131 56
rect 119 47 124 51
rect 78 38 83 42
rect 78 33 99 38
rect 104 33 131 38
<< labels >>
rlabel polysilicon 95 72 97 74 1 b
rlabel polysilicon 106 72 108 74 1 c
rlabel polysilicon 86 72 88 74 1 a
rlabel polysilicon 115 72 117 74 1 d
rlabel metal1 126 33 131 38 7 GND!
rlabel metal1 126 75 131 80 7 Vdd!
rlabel metal1 126 51 131 56 7 out
<< end >>

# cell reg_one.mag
magic
tech scmos
<< nwell >>
rect -11 -1 74 51
<< pwell >>
rect -11 52 74 81
rect -11 -27 74 -2
<< ntransistor >>
rect 10 58 12 63
rect 16 58 18 63
rect 26 58 28 63
rect 33 58 35 63
rect 51 58 53 63
rect 60 58 62 63
rect 10 -13 12 -8
rect 19 -13 21 -8
rect 37 -13 39 -8
rect 43 -13 45 -8
rect 52 -13 54 -8
rect 58 -13 60 -8
<< ptransistor >>
rect 10 35 12 45
rect 16 35 18 45
rect 26 35 28 45
rect 33 35 35 45
rect 51 35 53 45
rect 60 35 62 45
rect 10 5 12 15
rect 19 5 21 15
rect 37 5 39 15
rect 43 5 45 15
rect 52 5 54 15
rect 58 5 60 15
<< ndiffusion >>
rect 9 58 10 63
rect 12 58 16 63
rect 18 58 19 63
rect 25 58 26 63
rect 28 58 33 63
rect 35 58 36 63
rect 50 58 51 63
rect 53 58 54 63
rect 59 58 60 63
rect 62 58 63 63
rect 9 -13 10 -8
rect 12 -13 13 -8
rect 18 -13 19 -8
rect 21 -13 22 -8
rect 36 -13 37 -8
rect 39 -13 43 -8
rect 45 -13 46 -8
rect 51 -13 52 -8
rect 54 -13 58 -8
rect 60 -13 61 -8
<< pdiffusion >>
rect 9 35 10 45
rect 12 35 16 45
rect 18 35 19 45
rect 25 35 26 45
rect 28 35 33 45
rect 35 35 36 45
rect 50 35 51 45
rect 53 35 54 45
rect 59 35 60 45
rect 62 35 63 45
rect 9 5 10 15
rect 12 5 13 15
rect 18 5 19 15
rect 21 5 22 15
rect 36 5 37 15
rect 39 5 43 15
rect 45 5 46 15
rect 51 5 52 15
rect 54 5 58 15
rect 60 13 66 15
rect 60 5 61 13
<< ndcontact >>
rect 19 58 25 63
rect 45 58 50 63
rect 63 58 68 63
rect 4 -13 9 -8
rect 22 -13 27 -8
rect 31 -13 36 -8
rect 61 -13 66 -8
<< pdcontact >>
rect 19 35 25 45
rect 45 35 50 45
rect 63 35 68 45
rect 4 5 9 15
rect 22 5 27 15
rect 31 5 36 15
rect 61 5 66 13
<< psubstratepcontact >>
rect 1 67 7 72
rect 3 -24 8 -19
<< nsubstratencontact >>
rect 1 26 8 31
rect 42 20 50 25
<< polysilicon >>
rect 51 75 68 77
rect 16 69 42 71
rect 10 63 12 66
rect 16 63 18 69
rect 40 67 42 69
rect 51 67 53 75
rect 26 63 28 66
rect 33 63 35 66
rect 40 65 53 67
rect 66 66 68 75
rect 51 63 53 65
rect 60 63 62 66
rect 10 45 12 58
rect 16 55 18 58
rect 26 56 28 58
rect 21 54 28 56
rect 33 54 35 58
rect 21 49 23 54
rect 16 47 23 49
rect 16 45 18 47
rect 26 45 28 48
rect 33 45 35 49
rect 51 45 53 58
rect 60 45 62 58
rect 10 32 12 35
rect 16 32 18 35
rect 26 29 28 35
rect 33 32 35 35
rect 51 33 53 35
rect 47 31 53 33
rect 47 29 49 31
rect 26 27 49 29
rect 60 28 62 35
rect 52 26 62 28
rect 1 21 21 23
rect 10 15 12 18
rect 19 15 21 21
rect 37 15 39 18
rect 43 15 45 18
rect 52 15 54 26
rect 58 17 59 19
rect 58 15 60 17
rect 10 -8 12 5
rect 19 -8 21 5
rect 37 2 39 5
rect 43 3 45 5
rect 52 3 54 5
rect 43 1 54 3
rect 58 2 60 5
rect 37 -8 39 -5
rect 43 -8 45 1
rect 52 -8 54 1
rect 58 -8 60 -5
rect 10 -15 12 -13
rect -6 -17 12 -15
rect 19 -15 21 -13
rect 37 -15 39 -13
rect 19 -17 39 -15
rect 43 -16 45 -13
rect 52 -16 54 -13
rect 10 -20 12 -17
rect 58 -20 60 -13
rect 10 -22 60 -20
<< polycontact >>
rect 57 66 62 71
rect 68 66 73 71
rect 5 49 10 54
rect 16 27 21 32
rect -4 18 1 23
rect 34 18 39 23
rect -11 -19 -6 -14
<< metal1 >>
rect 7 67 13 72
rect 4 63 9 67
rect 19 66 57 71
rect 19 63 25 66
rect -11 49 5 54
rect 19 45 25 58
rect 45 45 50 58
rect 63 54 68 58
rect 59 49 68 54
rect 63 45 68 49
rect 4 31 9 35
rect 45 32 50 35
rect 8 26 13 31
rect 21 28 50 32
rect 4 23 9 26
rect 9 18 18 23
rect 0 13 1 18
rect 13 15 18 18
rect 22 18 34 23
rect 50 20 51 25
rect 22 15 27 18
rect 46 15 51 20
rect 4 1 9 5
rect 4 -8 9 -4
rect 22 -8 27 5
rect 31 -8 36 5
rect 61 -3 66 5
rect 61 -8 74 -3
rect 69 -13 74 -8
rect 13 -17 18 -13
rect 31 -17 36 -13
rect 3 -19 22 -17
rect 8 -22 22 -19
rect 72 -22 74 -17
<< m2contact >>
rect 54 49 59 54
rect 4 -4 9 1
rect -11 -24 -6 -19
rect 31 -22 36 -17
rect 67 -22 72 -17
<< pm12contact >>
rect 33 49 38 54
rect 59 17 64 22
<< pdm12contact >>
rect 4 35 9 45
rect 36 35 41 45
rect 54 35 59 45
rect 13 5 18 15
rect 46 5 51 15
<< ndm12contact >>
rect 4 58 9 63
rect 36 58 41 63
rect 54 58 59 63
rect 13 -13 18 -8
rect 46 -13 51 -8
<< metal2 >>
rect 9 58 36 63
rect 41 58 54 63
rect 59 58 73 63
rect 38 49 54 54
rect 9 35 36 45
rect 41 35 54 45
rect 58 17 59 22
rect 18 5 46 15
rect 58 1 63 17
rect 9 -4 63 1
rect 68 -8 73 58
rect 18 -13 46 -8
rect 51 -13 73 -8
rect 56 -20 67 -17
rect 36 -22 67 -20
rect 31 -25 61 -22
<< m123contact >>
rect 68 71 73 76
rect 4 18 9 23
rect -5 13 0 18
rect 22 -22 27 -17
<< labels >>
rlabel polysilicon 11 51 11 51 5 in
rlabel polysilicon 11 -2 11 -2 1 r0
rlabel polysilicon 20 -2 20 -2 1 r1
rlabel polysilicon 17 70 17 70 5 w
rlabel nsubstratencontact 6 28 6 28 1 Vdd!
rlabel metal1 63 -6 63 -6 1 port0
rlabel metal1 34 -6 34 -6 1 port1
rlabel metal1 56 68 56 68 1 tmp
<< end >>

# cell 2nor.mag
magic
tech scmos
<< nwell >>
rect 68 52 115 81
<< pwell >>
rect 68 28 115 51
<< ntransistor >>
rect 85 40 87 45
rect 96 40 98 45
<< ptransistor >>
rect 85 59 87 69
rect 96 59 98 69
<< ndiffusion >>
rect 79 40 85 45
rect 87 40 89 45
rect 94 40 96 45
rect 98 40 104 45
<< pdiffusion >>
rect 79 59 85 69
rect 87 59 96 69
rect 98 59 104 69
<< ndcontact >>
rect 74 40 79 45
rect 89 40 94 45
rect 104 40 109 45
<< pdcontact >>
rect 74 59 79 69
rect 104 59 109 69
<< psubstratepcontact >>
rect 89 31 94 36
<< nsubstratencontact >>
rect 89 73 94 78
<< polysilicon >>
rect 85 69 87 72
rect 96 69 98 72
rect 85 45 87 59
rect 96 45 98 59
rect 85 37 87 40
rect 96 37 98 40
<< metal1 >>
rect 74 73 89 78
rect 94 73 115 78
rect 74 69 79 73
rect 89 49 115 54
rect 89 45 94 49
rect 74 36 79 40
rect 104 36 109 40
rect 74 31 89 36
rect 94 31 115 36
<< labels >>
rlabel metal1 110 49 115 54 7 out
rlabel metal1 110 31 115 36 7 GND!
rlabel polysilicon 85 69 87 71 1 a
rlabel polysilicon 96 69 98 71 1 b
rlabel metal1 110 73 115 78 7 Vdd!
<< end >>

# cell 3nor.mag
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
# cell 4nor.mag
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
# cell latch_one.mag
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
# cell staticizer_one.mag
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
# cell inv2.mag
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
